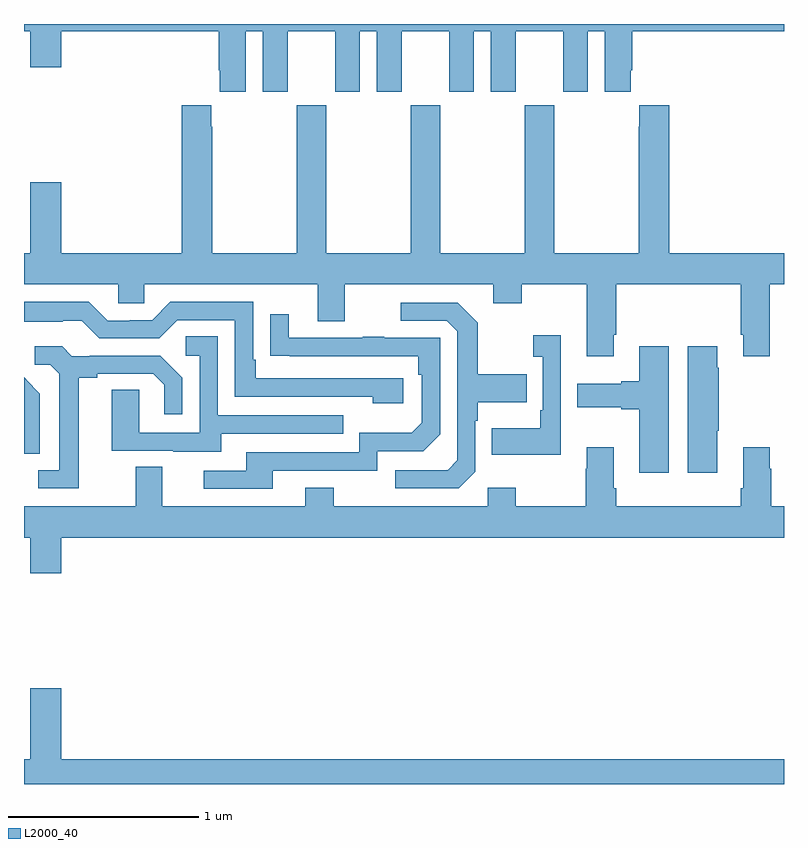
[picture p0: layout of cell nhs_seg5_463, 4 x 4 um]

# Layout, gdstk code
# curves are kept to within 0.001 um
import gdstk
lib = gdstk.Library(unit=1e-6, precision=1e-09)
def P(c, l, *ps):  # polygons
    for p in ps: c.add(gdstk.Polygon(p, *l))
L2000_40 = (2000, 40)

nhs_seg5_463 = lib.new_cell('nhs_seg5_463')
P(nhs_seg5_463, L2000_40, [(141,856.76),(141.032,856.76),(141.032,856.572),(141.196,856.572),(141.196,856.76),(142.025,856.76),(142.025,856.555),(142.031,856.555),(142.031,856.443),(142.168,856.443),(142.168,856.76),(142.256,856.76),(142.256,856.443),(142.387,856.443),(142.387,856.76),(142.637,856.76),(142.637,856.443),(142.768,856.443),(142.768,856.76),(142.856,856.76),(142.856,856.443),(142.987,856.443),(142.987,856.76),(143.237,856.76),(143.237,856.443),(143.368,856.443),(143.368,856.76),(143.456,856.76),(143.456,856.443),(143.587,856.443),(143.587,856.76),(143.837,856.76),(143.837,856.443),(143.968,856.443),(143.968,856.76),(144.056,856.76),(144.056,856.443),(144.193,856.443),(144.193,856.555),(144.2,856.555),(144.2,856.76),(145,856.76),(145,856.799),(141,856.799)],
  [(142.547,855.234),(142.687,855.234),(142.687,855.428),(143.471,855.428),(143.471,855.329),(143.619,855.329),(143.619,855.428),(143.963,855.428),(143.963,855.051),(144.103,855.051),(144.103,855.163),(144.116,855.163),(144.116,855.428),(144.773,855.428),(144.773,855.163),(144.785,855.163),(144.785,855.051),(144.925,855.051),(144.925,855.428),(145,855.428),(145,855.592),(144.395,855.592),(144.395,856.372),(144.239,856.372),(144.239,856.259),(144.235,856.259),(144.235,855.592),(143.79,855.592),(143.79,856.372),(143.635,856.372),(143.635,855.592),(143.19,855.592),(143.19,856.372),(143.035,856.372),(143.035,855.592),(142.59,855.592),(142.59,856.372),(142.435,856.372),(142.435,855.592),(141.99,855.592),(141.99,856.259),(141.985,856.259),(141.985,856.372),(141.83,856.372),(141.83,855.592),(141.196,855.592),(141.196,855.967),(141.032,855.967),(141.032,855.592),(141,855.592),(141,855.428),(141.495,855.428),(141.495,855.33),(141.633,855.33),(141.633,855.428),(142.547,855.428)],
  [(142.996,854.934),(142.219,854.934),(142.219,855.031),(142.206,855.031),(142.206,855.336),(141.771,855.336),(141.675,855.24),(141.557,855.24),(141.557,855.237),(141.441,855.237),(141.341,855.337),(141,855.337),(141,855.233),(141.203,855.233),(141.203,855.237),(141.303,855.237),(141.396,855.144),(141.711,855.144),(141.807,855.24),(142.11,855.24),(142.11,854.838),(142.835,854.838),(142.835,854.804),(142.996,854.804)],
  [(143.376,854.442),(143.376,854.711),(143.389,854.711),(143.389,854.807),(143.645,854.807),(143.645,854.955),(143.389,854.955),(143.389,855.227),(143.283,855.333),(142.983,855.333),(142.983,855.237),(143.226,855.237),(143.28,855.183),(143.28,854.502),(143.229,854.451),(142.953,854.451),(142.953,854.355),(143.289,854.355)],
  [(142.309,854.448),(142.86,854.448),(142.86,854.55),(143.1,854.55),(143.19,854.64),(143.19,855.147),(142.895,855.147),(142.895,855.152),(142.783,855.152),(142.783,855.147),(142.393,855.147),(142.393,855.271),(142.297,855.271),(142.297,855.052),(143.074,855.051),(143.074,854.954),(143.094,854.954),(143.094,854.7),(143.041,854.647),(142.764,854.647),(142.764,854.544),(142.169,854.544),(142.169,854.448),(141.945,854.448),(141.945,854.352),(142.309,854.352)],
  [(143.826,855.16),(143.679,855.16),(143.679,855.047),(143.73,855.047),(143.73,854.767),(143.718,854.767),(143.718,854.671),(143.461,854.671),(143.461,854.531),(143.826,854.531)],
  [(142.039,854.643),(142.679,854.643),(142.679,854.739),(142.02,854.739),(142.02,855.155),(141.852,855.155),(141.852,855.054),(141.924,855.054),(141.924,854.649),(141.606,854.649),(141.606,854.873),(141.461,854.873),(141.461,854.553),(141.785,854.553),(141.785,854.549),(142.039,854.549)],
  [(144.394,855.103),(144.239,855.103),(144.239,854.918),(144.143,854.918),(144.143,854.905),(143.913,854.905),(143.913,854.783),(144.143,854.783),(144.143,854.771),(144.239,854.771),(144.239,854.436),(144.394,854.436)],
  [(144.649,854.659),(144.657,854.659),(144.657,854.99),(144.649,854.99),(144.649,855.103),(144.494,855.103),(144.494,854.436),(144.649,854.436)],
  [(141.289,854.936),(141.385,854.936),(141.385,854.958),(141.68,854.958),(141.737,854.901),(141.737,854.745),(141.834,854.745),(141.834,854.938),(141.718,855.054),(141.346,855.054),(141.346,855.051),(141.252,855.051),(141.2,855.103),(141.057,855.103),(141.057,855.006),(141.138,855.006),(141.185,854.959),(141.185,854.451),(141.075,854.451),(141.075,854.355),(141.289,854.355)],
  [(141.084,854.854),(141.011,854.927),(141.012,854.928),(141,854.94),(141,854.536),(141.084,854.536)],
  [(141.196,854.096),(145,854.096),(145,854.26),(144.933,854.26),(144.933,854.459),(144.925,854.459),(144.925,854.572),(144.785,854.572),(144.785,854.356),(144.773,854.356),(144.773,854.26),(144.116,854.26),(144.116,854.356),(144.103,854.356),(144.103,854.572),(143.963,854.572),(143.963,854.459),(143.956,854.459),(143.956,854.26),(143.589,854.26),(143.589,854.359),(143.442,854.359),(143.442,854.26),(142.629,854.26),(142.629,854.359),(142.481,854.359),(142.481,854.26),(141.727,854.26),(141.727,854.468),(141.587,854.468),(141.587,854.26),(141,854.26),(141,854.096),(141.032,854.096),(141.032,853.908),(141.196,853.908)],
  [(145,852.928),(141.196,852.928),(141.196,853.303),(141.032,853.303),(141.032,852.928),(141,852.928),(141,852.799),(145,852.799)])

lib.write_gds('nhs_seg5_463.gds')
